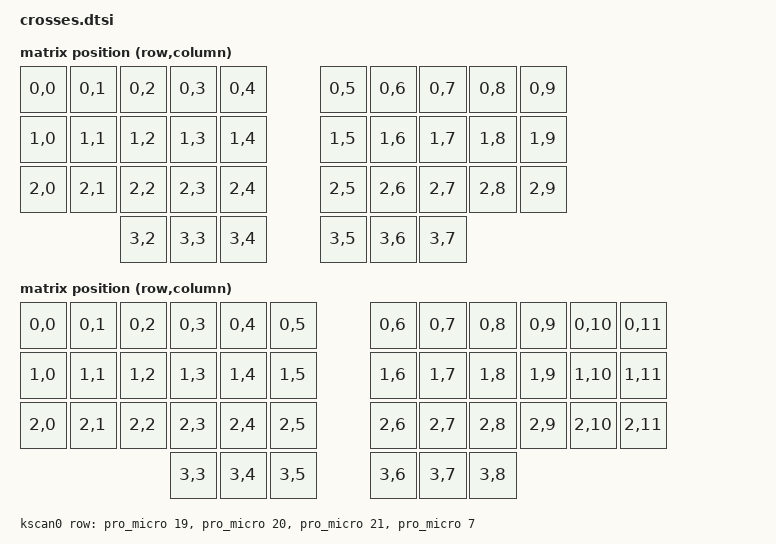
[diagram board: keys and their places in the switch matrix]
#include <dt-bindings/zmk/matrix_transform.h> 
#include <dt-bindings/zmk/input_transform.h>
#include <input/processors.dtsi> 
#include "crosses-layouts.dtsi"

&physical_layout0 {
  transform = <&default_transform>;
};

&physical_layout6 {
  transform = <&wide_transform>;
};

/ {
  chosen {
    zmk,kscan = &kscan0;
    zmk,physical-layout = "physical_layout6";
  };

  matrix_transform0: default_transform: keymap_transform0 {
    compatible = "zmk,matrix-transform";
    columns = <10>;
    rows = <4>;
    map = <
      RC(0,0) RC(0,1) RC(0,2) RC(0,3) RC(0,4)              RC(0,5) RC(0,6) RC(0,7) RC(0,8) RC(0,9)
      RC(1,0) RC(1,1) RC(1,2) RC(1,3) RC(1,4)              RC(1,5) RC(1,6) RC(1,7) RC(1,8) RC(1,9)
      RC(2,0) RC(2,1) RC(2,2) RC(2,3) RC(2,4)              RC(2,5) RC(2,6) RC(2,7) RC(2,8) RC(2,9)
                      RC(3,2) RC(3,3) RC(3,4)              RC(3,5) RC(3,6) RC(3,7)
    >;
  };

  /* 12-column transform for 3x6-per-side layout */
  wide_transform: keymap_transform1 {
    compatible = "zmk,matrix-transform";
    columns = <12>;
    rows = <4>;
    map = <
      RC(0,0) RC(0,1) RC(0,2) RC(0,3) RC(0,4) RC(0,5)      RC(0,6) RC(0,7) RC(0,8) RC(0,9) RC(0,10) RC(0,11)
      RC(1,0) RC(1,1) RC(1,2) RC(1,3) RC(1,4) RC(1,5)      RC(1,6) RC(1,7) RC(1,8) RC(1,9) RC(1,10) RC(1,11)
      RC(2,0) RC(2,1) RC(2,2) RC(2,3) RC(2,4) RC(2,5)      RC(2,6) RC(2,7) RC(2,8) RC(2,9) RC(2,10) RC(2,11)
                              RC(3,3) RC(3,4) RC(3,5)      RC(3,6) RC(3,7) RC(3,8)
    >;
  };

  kscan0: kscan0 {
    compatible = "zmk,kscan-gpio-matrix";
    diode-direction = "col2row";
    wakeup-source;

    row-gpios
      = <&pro_micro 19 (GPIO_ACTIVE_HIGH | GPIO_PULL_DOWN)>
      , <&pro_micro 20 (GPIO_ACTIVE_HIGH | GPIO_PULL_DOWN)>
      , <&pro_micro 21 (GPIO_ACTIVE_HIGH | GPIO_PULL_DOWN)>
      , <&pro_micro 7 (GPIO_ACTIVE_HIGH | GPIO_PULL_DOWN)>
      ;
  };
   
  //left hand trackball
  split_inputs {
    #address-cells = <1>;
    #size-cells = <0>;

    trackball_peripheral_split: trackball_peripheral_split@0 {
      compatible = "zmk,input-split";
      reg = <0>;
    };
  };

  trackball_peripheral_listener: trackball_peripheral_listener {
    compatible = "zmk,input-listener";
    status = "disabled";
    device = <&trackball_peripheral_split>;
    input-processors
      = <&zip_xy_transform (INPUT_TRANSFORM_Y_INVERT | INPUT_TRANSFORM_X_INVERT | INPUT_TRANSFORM_XY_SWAP)>
      ;
  };

  //right hand trackball
  trackball_central_listener: trackball_central_listener {
    compatible = "zmk,input-listener";
    status = "disabled";
    input-processors
      = <&zip_xy_transform (INPUT_TRANSFORM_XY_SWAP)>
      , <&zip_xy_scaler 1 10>
      , <&zip_xy_to_scroll_mapper>
      ;
  };
};

